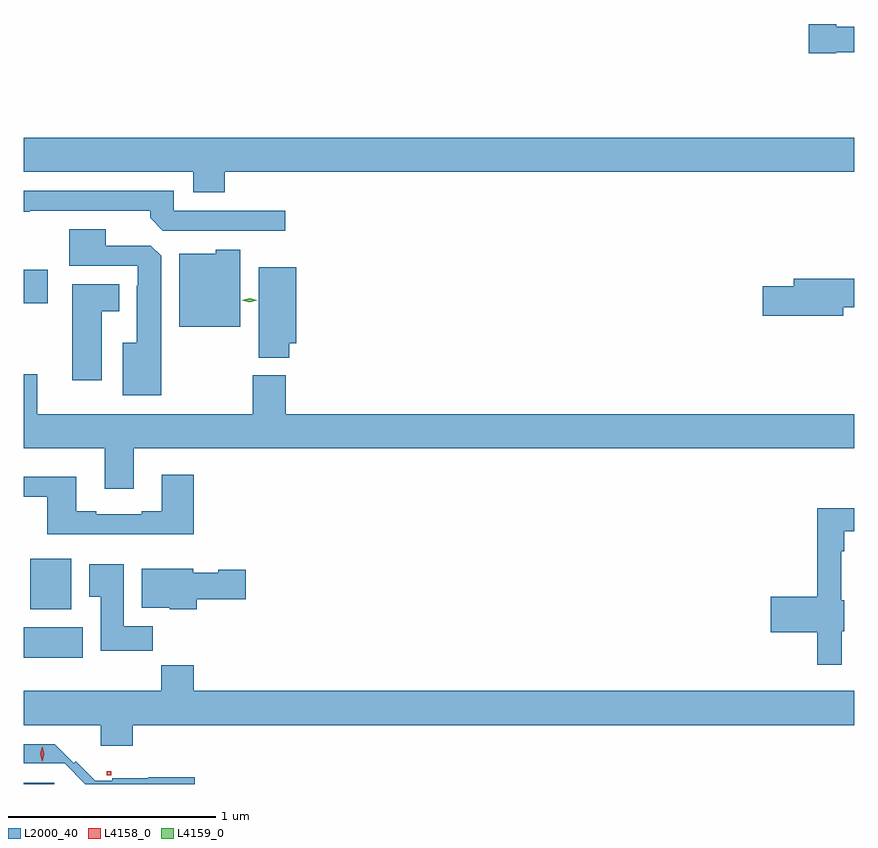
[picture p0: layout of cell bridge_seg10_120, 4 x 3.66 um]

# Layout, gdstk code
import gdstk
lib = gdstk.Library(unit=1e-6, precision=1e-09)
def R(c, l, rs):  # rectangles x0, y0, x1, y1
    for r in rs: c.add(gdstk.rectangle(r[:2], r[2:], *l))
def P(c, l, *ps):  # polygons
    for p in ps: c.add(gdstk.Polygon(p, *l))
L2000_40 = (2000, 40)
L4158_0 = (4158, 0)
L4159_0 = (4159, 0)

bridge_seg10_120 = lib.new_cell('bridge_seg10_120')
R(bridge_seg10_120, L2000_40, [(383.999,1285.38,384.147,1285.386), (383.999,1285.988,384.283,1286.134), (384.032,1286.222,384.229,1286.464), (383.999,1287.694,384.115,1287.856)])
P(bridge_seg10_120, L2000_40, [(387.912,1288.904),(387.999,1288.904),(387.999,1289.026),(387.912,1289.026),(387.912,1289.039),(387.78,1289.039),(387.78,1288.897),(387.912,1288.897)],
  [(384.968,1288.328),(387.999,1288.328),(387.999,1288.492),(383.999,1288.492),(383.999,1288.328),(384.815,1288.328),(384.815,1288.229),(384.968,1288.229)],
  [(385.258,1288.14),(384.723,1288.14),(384.723,1288.236),(383.999,1288.236),(383.999,1288.135),(384.028,1288.135),(384.028,1288.14),(384.608,1288.14),(384.608,1288.106),(384.669,1288.044),(385.258,1288.044)],
  [(384.661,1287.923),(384.612,1287.972),(384.394,1287.972),(384.394,1288.051),(384.218,1288.051),(384.218,1287.876),(384.549,1287.876),(384.549,1287.779),(384.545,1287.779),(384.545,1287.505),(384.476,1287.505),(384.476,1287.251),(384.661,1287.251)],
  [(385.042,1287.952),(384.924,1287.952),(384.924,1287.934),(384.749,1287.934),(384.749,1287.581),(385.042,1287.581)],
  [(385.277,1287.503),(385.312,1287.503),(385.312,1287.868),(385.13,1287.868),(385.13,1287.433),(385.277,1287.433)],
  [(387.946,1287.676),(387.999,1287.676),(387.999,1287.812),(387.707,1287.812),(387.707,1287.776),(387.558,1287.776),(387.558,1287.634),(387.946,1287.634)],
  [(384.376,1287.656),(384.46,1287.656),(384.46,1287.787),(384.233,1287.787),(384.233,1287.324),(384.376,1287.324)],
  [(384.529,1286.996),(387.999,1286.996),(387.999,1287.16),(385.262,1287.16),(385.262,1287.348),(385.102,1287.348),(385.102,1287.16),(384.064,1287.16),(384.064,1287.352),(383.999,1287.352),(383.999,1286.996),(384.389,1286.996),(384.389,1286.802),(384.529,1286.802)],
  [(384.818,1286.869),(384.665,1286.869),(384.665,1286.692),(384.569,1286.692),(384.569,1286.679),(384.349,1286.679),(384.349,1286.692),(384.253,1286.692),(384.253,1286.86),(383.999,1286.86),(383.999,1286.763),(384.113,1286.763),(384.113,1286.582),(384.818,1286.582)],
  [(387.938,1286.115),(387.951,1286.115),(387.951,1286.265),(387.936,1286.265),(387.936,1286.501),(387.949,1286.501),(387.949,1286.597),(387.999,1286.597),(387.999,1286.707),(387.82,1286.707),(387.82,1286.282),(387.597,1286.282),(387.597,1286.111),(387.82,1286.111),(387.82,1285.953),(387.938,1285.953)],
  [(384.62,1286.14),(384.481,1286.14),(384.481,1286.437),(384.314,1286.437),(384.314,1286.281),(384.371,1286.281),(384.371,1286.022),(384.62,1286.022)],
  [(384.833,1286.269),(385.069,1286.269),(385.069,1286.411),(384.936,1286.411),(384.936,1286.398),(384.816,1286.398),(384.816,1286.416),(384.569,1286.416),(384.569,1286.228),(384.702,1286.228),(384.702,1286.222),(384.833,1286.222)],
  [(384.524,1285.664),(387.999,1285.664),(387.999,1285.828),(384.818,1285.828),(384.818,1285.952),(384.661,1285.952),(384.661,1285.828),(383.999,1285.828),(383.999,1285.664),(384.371,1285.664),(384.371,1285.565),(384.524,1285.565)],
  [(384.823,1285.412),(384.6,1285.412),(384.6,1285.408),(384.425,1285.408),(384.425,1285.395),(384.343,1285.395),(384.25,1285.489),(384.241,1285.48),(384.148,1285.572),(383.999,1285.572),(383.999,1285.479),(384.198,1285.479),(384.297,1285.38),(384.823,1285.38)])
R(bridge_seg10_120, L4158_0, [(384.4,1285.422,384.42,1285.442)])
P(bridge_seg10_120, L4158_0, [(384.089,1285.49),(384.089,1285.49),(384.079,1285.525),(384.088,1285.56),(384.088,1285.56),(384.089,1285.56),(384.099,1285.525),(384.089,1285.49)])
P(bridge_seg10_120, L4159_0, [(385.087,1287.699),(385.049,1287.709),(385.049,1287.71),(385.049,1287.71),(385.087,1287.719),(385.124,1287.709),(385.125,1287.709),(385.124,1287.709)])

lib.write_gds('bridge_seg10_120.gds')
